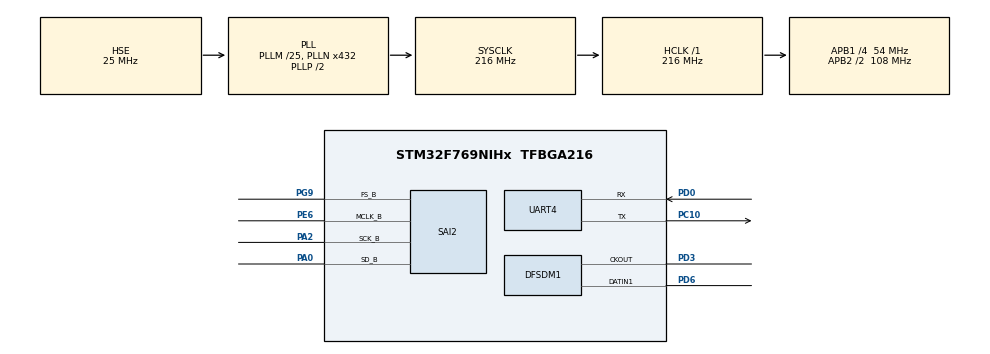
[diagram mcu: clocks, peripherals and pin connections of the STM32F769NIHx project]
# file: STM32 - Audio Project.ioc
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ADC1.Channel-3\#ChannelRegularConversion=ADC_CHANNEL_TEMPSENSOR
ADC1.NbrOfConversionFlag=1
ADC1.Rank-3\#ChannelRegularConversion=1
ADC1.SamplingTime-3\#ChannelRegularConversion=ADC_SAMPLETIME_3CYCLES
ADC1.master=1
DFSDM1.Divider=4
DFSDM1.DmaMode_reg_FIL0=ENABLE
DFSDM1.DmaMode_reg_FIL1=ENABLE
DFSDM1.FastMode_reg_FIL0=ENABLE
DFSDM1.FastMode_reg_FIL1=ENABLE
DFSDM1.Filter_injChannel0_FIL1=DFSDM_CHANNEL_0
DFSDM1.Filter_injChannel1_FIL0=DFSDM_CHANNEL_1
DFSDM1.Filter_regChannel_FIL0=DFSDM_CHANNEL_1
DFSDM1.Filter_regChannel_FIL1=DFSDM_CHANNEL_1
DFSDM1.Fosr_FIL0=64
DFSDM1.Fosr_FIL1=64
DFSDM1.Oversampling_CH0=1
DFSDM1.Oversampling_CH1=10
DFSDM1.RightBitShift_CH0=0x00
DFSDM1.RightBitShift_CH1=0x02
DFSDM1.ScanMode_inj_FIL1=ENABLE
DFSDM1.Selection=DFSDM_CHANNEL_OUTPUT_CLOCK_AUDIO
DFSDM1.SincOrder_FIL0=DFSDM_FILTER_SINC3_ORDER
DFSDM1.SincOrder_FIL1=DFSDM_FILTER_SINC3_ORDER
DFSDM1.Trigger_reg_FIL1=DFSDM_FILTER_SYNC_TRIGGER
Dma.DFSDM1_FLT0.0.Direction=DMA_PERIPH_TO_MEMORY
Dma.DFSDM1_FLT0.0.FIFOMode=DMA_FIFOMODE_DISABLE
Dma.DFSDM1_FLT0.0.Instance=DMA2_Stream0
Dma.DFSDM1_FLT0.0.MemDataAlignment=DMA_MDATAALIGN_WORD
Dma.DFSDM1_FLT0.0.MemInc=DMA_MINC_ENABLE
Dma.DFSDM1_FLT0.0.Mode=DMA_CIRCULAR
Dma.DFSDM1_FLT0.0.PeriphDataAlignment=DMA_PDATAALIGN_WORD
Dma.DFSDM1_FLT0.0.PeriphInc=DMA_PINC_DISABLE
Dma.DFSDM1_FLT0.0.Priority=DMA_PRIORITY_HIGH
Dma.DFSDM1_FLT1.1.Direction=DMA_PERIPH_TO_MEMORY
Dma.DFSDM1_FLT1.1.FIFOMode=DMA_FIFOMODE_DISABLE
Dma.DFSDM1_FLT1.1.Instance=DMA2_Stream5
Dma.DFSDM1_FLT1.1.MemDataAlignment=DMA_MDATAALIGN_WORD
Dma.DFSDM1_FLT1.1.MemInc=DMA_MINC_ENABLE
Dma.DFSDM1_FLT1.1.Mode=DMA_CIRCULAR
Dma.DFSDM1_FLT1.1.PeriphDataAlignment=DMA_PDATAALIGN_WORD
Dma.DFSDM1_FLT1.1.PeriphInc=DMA_PINC_DISABLE
Dma.DFSDM1_FLT1.1.Priority=DMA_PRIORITY_HIGH
Dma.Request0=DFSDM1_FLT0
Dma.Request1=DFSDM1_FLT1
Dma.Request2=SAI2_B
Dma.SAI2_B.2.Direction=DMA_MEMORY_TO_PERIPH
Dma.SAI2_B.2.FIFOMode=DMA_FIFOMODE_DISABLE
Dma.SAI2_B.2.Instance=DMA2_Stream6
Dma.SAI2_B.2.MemDataAlignment=DMA_MDATAALIGN_HALFWORD
Dma.SAI2_B.2.MemInc=DMA_MINC_ENABLE
Dma.SAI2_B.2.Mode=DMA_CIRCULAR
Dma.SAI2_B.2.PeriphDataAlignment=DMA_PDATAALIGN_HALFWORD
Dma.SAI2_B.2.PeriphInc=DMA_PINC_DISABLE
Dma.SAI2_B.2.Priority=DMA_PRIORITY_HIGH
Mcu.Family=STM32F7
Mcu.Name=STM32F769NIHx
Mcu.Package=TFBGA216
NVIC.DMA2_Stream0_IRQn=true\:0\:0\:false\:false\:true\:false\:true\:true
NVIC.DMA2_Stream5_IRQn=true\:0\:0\:false\:false\:true\:false\:true\:true
NVIC.DMA2_Stream6_IRQn=true\:0\:0\:false\:false\:true\:false\:true\:true
NVIC.PriorityGroup=NVIC_PRIORITYGROUP_4
PA0/WKUP.GPIO_Speed=GPIO_SPEED_FREQ_VERY_HIGH
PA0/WKUP.Mode=SAI_B_MasterWithClock
PA0/WKUP.Signal=SAI2_SD_B
PA2.GPIO_Speed=GPIO_SPEED_FREQ_VERY_HIGH
PA2.Mode=SAI_B_MasterWithClock
PA2.Signal=SAI2_SCK_B
PC10.Mode=Asynchronous
PC10.Signal=UART4_TX
PD0.Mode=Asynchronous
PD0.Signal=UART4_RX
PD3.GPIO_PuPd=GPIO_PULLDOWN
PD3.GPIO_Speed=GPIO_SPEED_FREQ_VERY_HIGH
PD3.Signal=S_CKOUTDFSDM1
PD6.GPIO_PuPd=GPIO_PULLDOWN
PD6.GPIO_Speed=GPIO_SPEED_FREQ_VERY_HIGH
PD6.Signal=S_DATAIN1DFSDM1
PE6.GPIO_Speed=GPIO_SPEED_FREQ_VERY_HIGH
PE6.Mode=SAI_B_MasterWithClock
PE6.Signal=SAI2_MCLK_B
PG9.GPIO_Speed=GPIO_SPEED_FREQ_VERY_HIGH
PG9.Mode=SAI_B_MasterWithClock
PG9.Signal=SAI2_FS_B
PH0/OSC_IN.Mode=HSE-External-Oscillator
PH0/OSC_IN.Signal=RCC_OSC_IN
PH1/OSC_OUT.Mode=HSE-External-Oscillator
PH1/OSC_OUT.Signal=RCC_OSC_OUT
ProjectManager.HeapSize=0x200
ProjectManager.StackSize=0x400
ProjectManager.TargetToolchain=STM32CubeIDE
RCC.AHBFreq_Value=216000000
RCC.APB1CLKDivider=RCC_HCLK_DIV4
RCC.APB1Freq_Value=54000000
RCC.APB1TimFreq_Value=108000000
RCC.APB2CLKDivider=RCC_HCLK_DIV2
RCC.APB2Freq_Value=108000000
RCC.APB2TimFreq_Value=216000000
RCC.CortexFreq_Value=216000000
RCC.DFSDMAudioSelection=RCC_DFSDM1AUDIOCLKSOURCE_SAI2
RCC.HCLKFreq_Value=216000000
RCC.HSE_VALUE=25000000
RCC.HSI_VALUE=16000000
RCC.LSE_VALUE=32768
RCC.PLLM=25
RCC.PLLN=432
RCC.PLLSAIN=429
RCC.PLLSAIQ=6
RCC.PLLSAIQDiv=6
RCC.PLLSourceVirtual=RCC_PLLSOURCE_HSE
RCC.SAI1CLockSelection=RCC_SAI1CLKSOURCE_PLLSRC
RCC.SYSCLKFreq_VALUE=216000000
RCC.SYSCLKSource=RCC_SYSCLKSOURCE_PLLCLK
RCC.USBFreq_Value=216000000
RCC.VCOOutputFreq_Value=432000000
SAI2.ActiveFrameLength-SAI_B_MasterWithClock=16
SAI2.DataSize-SAI_B_MasterWithClock=SAI_DATASIZE_16
SAI2.ErrorAudioFreq-SAI_B_MasterWithClock=-75.75 %
SAI2.FIFOThreshold-SAI_B_MasterWithClock=SAI_FIFOTHRESHOLD_1QF
SAI2.FSDefinition-SAI_B_MasterWithClock=SAI_FS_CHANNEL_IDENTIFICATION
SAI2.FSOffset-SAI_B_MasterWithClock=SAI_FS_BEFOREFIRSTBIT
SAI2.FrameLength-SAI_B_MasterWithClock=32
SAI2.Instance-SAI_B_MasterWithClock=SAI$Index_Block_B
SAI2.MClockEnable-SAI_B_MasterWithClock=SAI_MASTERCLOCK_ENABLE
SAI2.OutputDrive-SAI_B_MasterWithClock=SAI_OUTPUTDRIVE_ENABLE
SAI2.RealAudioFreq-SAI_B_MasterWithClock=46.549 KHz
SAI2.SlotActive-SAI_B_MasterWithClock=0x00000003
SAI2.SlotNumber-SAI_B_MasterWithClock=2
SAI2.SlotSize-SAI_B_MasterWithClock=SAI_SLOTSIZE_DATASIZE
SAI2.VirtualMode-SAI_B_MasterWithClock=VM_MASTER
SAI2.VirtualSlotActive-SAI_B_MasterWithClock=SAI_SLOT_USERSETTING
SAI2.VirtualSlotActive0-SAI_B_MasterWithClock=true
SAI2.VirtualSlotActive1-SAI_B_MasterWithClock=true
SH.S_CKOUTDFSDM1.0=DFSDM1_CKOUT,PDM_SPI_input_from_ch1_and_internal_clock
SH.S_CKOUTDFSDM1.1=DFSDM1_CKOUT,PDM_SPI_Input_from_ch01_and_Internal_Clock
SH.S_DATAIN1DFSDM1.0=DFSDM1_DATIN1,PDM_SPI_input_from_ch1_and_internal_clock
SH.S_DATAIN1DFSDM1.1=DFSDM1_DATIN1,PDM_SPI_Input_from_ch01_and_Internal_Clock
VP_ADC1_TempSens_Input.Mode=IN-TempSens
board=custom

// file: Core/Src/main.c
/* USER CODE BEGIN Header */
/**
  ******************************************************************************
  * @file           : main.c
  * @brief          : Main program body
  ******************************************************************************
  * @attention
  *
  * Copyright (c) 2022 STMicroelectronics.
  * All rights reserved.
  *
  * This software is licensed under terms that can be found in the LICENSE file
  * in the root directory of this software component.
  * If no LICENSE file comes with this software, it is provided AS-IS.
  *
  ******************************************************************************
  */
/* USER CODE END Header */
#include "main.h"
#include "adc.h"
#include "dfsdm.h"
#include "dma.h"
#include "sai.h"
#include "usart.h"
#include "gpio.h"

/* USER CODE BEGIN PV */

extern SAI_HandleTypeDef hsai_BlockB2;
extern DMA_HandleTypeDef hdma_sai2_b;

extern DFSDM_Filter_HandleTypeDef hdfsdm1_filter0;
extern DFSDM_Filter_HandleTypeDef hdfsdm1_filter1;
extern DFSDM_Channel_HandleTypeDef hdfsdm1_channel0;
extern DFSDM_Channel_HandleTypeDef hdfsdm1_channel1;
extern DMA_HandleTypeDef hdma_dfsdm1_flt0;
extern DMA_HandleTypeDef hdma_dfsdm1_flt1;
#define SaturaLH(N, L, H) (((N)<(L))?(L):(((N)>(H))?(H):(N)))
int32_t                      LeftRecBuff[2048];
int32_t                      RightRecBuff[2048];
int16_t                      PlayBuff[4096];
uint32_t                     DmaLeftRecHalfBuffCplt  = 0;
uint32_t                     DmaLeftRecBuffCplt      = 0;
uint32_t                     DmaRightRecHalfBuffCplt = 0;
uint32_t                     DmaRightRecBuffCplt     = 0;
uint32_t                     PlaybackStarted         = 0;

void HAL_DFSDM_FilterRegConvHalfCpltCallback(DFSDM_Filter_HandleTypeDef *hdfsdm_filter)
{
  if(hdfsdm_filter == &hdfsdm1_filter0)
  {
    DmaLeftRecHalfBuffCplt = 1;
  }
  else
  {
    DmaRightRecHalfBuffCplt = 1;
  }
}

void HAL_DFSDM_FilterRegConvCpltCallback(DFSDM_Filter_HandleTypeDef *hdfsdm_filter)
{
  if(hdfsdm_filter == &hdfsdm1_filter0)
  {
    DmaLeftRecBuffCplt = 1;
  }
  else
  {
    DmaRightRecBuffCplt = 1;
  }
}

/* USER CODE END PV */

void SystemClock_Config(void);
void PeriphCommonClock_Config(void);

int main(void)
{

  /* MCU Configuration--------------------------------------------------------*/

  /* Reset of all peripherals, Initializes the Flash interface and the Systick. */
  HAL_Init();

  /* Configure the system clock */
  SystemClock_Config();

/* Configure the peripherals common clocks */
  PeriphCommonClock_Config();

  /* Initialize all configured peripherals */
  MX_GPIO_Init();
  MX_DMA_Init();
  MX_DFSDM1_Init();
  MX_SAI2_Init();
  MX_ADC1_Init();
  MX_UART4_Init();
  /* USER CODE BEGIN 2 */
  /* Start DFSDM conversions */
  if(HAL_OK != HAL_DFSDM_FilterRegularStart_DMA(&hdfsdm1_filter1, RightRecBuff, 2048))
  {
    Error_Handler();
  }
  if(HAL_OK != HAL_DFSDM_FilterRegularStart_DMA(&hdfsdm1_filter0, LeftRecBuff, 2048))
  {
    Error_Handler();
  }

  /* USER CODE END 2 */

  /* Infinite loop */
  while (1)
  {

    /* USER CODE BEGIN 3 */
	  if((DmaLeftRecHalfBuffCplt == 1) && (DmaRightRecHalfBuffCplt == 1))
	      {
	        /* Store values on Play buff */
	        for(int i = 0; i < 1024; i++)
	        {
	          PlayBuff[2*i]     = SaturaLH((LeftRecBuff[i] >> 8), -32768, 32767);
	          PlayBuff[(2*i)+1] = SaturaLH((RightRecBuff[i] >> 8), -32768, 32767);
	        }
	        /*if(PlaybackStarted == 0)
	        {
	          if(0 != audio_drv->Play(AUDIO_I2C_ADDRESS, (uint16_t *) &PlayBuff[0], 4096))
	          {
	            Error_Handler();
	          }
	          if(HAL_OK != HAL_SAI_Transmit_DMA(&SaiHandle, (uint8_t *) &PlayBuff[0], 4096))
	          {
	            Error_Handler();
	          }
	          PlaybackStarted = 1;
	        }*/
	        DmaLeftRecHalfBuffCplt  = 0;
	        DmaRightRecHalfBuffCplt = 0;
	      }
	      if((DmaLeftRecBuffCplt == 1) && (DmaRightRecBuffCplt == 1))
	      {
	        /* Store values on Play buff */
	        for(int i = 1024; i < 2048; i++)
	        {
	          PlayBuff[2*i]     = SaturaLH((LeftRecBuff[i] >> 8), -32768, 32767);
	          PlayBuff[(2*i)+1] = SaturaLH((RightRecBuff[i] >> 8), -32768, 32767);
	        }
	        DmaLeftRecBuffCplt  = 0;
	        DmaRightRecBuffCplt = 0;
	      }
  }
  /* USER CODE END 3 */
}

void SystemClock_Config(void)
{
  RCC_OscInitTypeDef RCC_OscInitStruct = {0};
  RCC_ClkInitTypeDef RCC_ClkInitStruct = {0};

  /** Configure the main internal regulator output voltage
  */
  __HAL_RCC_PWR_CLK_ENABLE();
  __HAL_PWR_VOLTAGESCALING_CONFIG(PWR_REGULATOR_VOLTAGE_SCALE1);

  /** Initializes the RCC Oscillators according to the specified parameters
  * in the RCC_OscInitTypeDef structure.
  */
  RCC_OscInitStruct.OscillatorType = RCC_OSCILLATORTYPE_HSE;
  RCC_OscInitStruct.HSEState = RCC_HSE_ON;
  RCC_OscInitStruct.PLL.PLLState = RCC_PLL_ON;
  RCC_OscInitStruct.PLL.PLLSource = RCC_PLLSOURCE_HSE;
  RCC_OscInitStruct.PLL.PLLM = 25;
  RCC_OscInitStruct.PLL.PLLN = 432;
  RCC_OscInitStruct.PLL.PLLP = RCC_PLLP_DIV2;
  RCC_OscInitStruct.PLL.PLLQ = 2;
  RCC_OscInitStruct.PLL.PLLR = 2;
  if (HAL_RCC_OscConfig(&RCC_OscInitStruct) != HAL_OK)
  {
    Error_Handler();
  }

  /** Activate the Over-Drive mode
  */
  if (HAL_PWREx_EnableOverDrive() != HAL_OK)
  {
    Error_Handler();
  }

  /** Initializes the CPU, AHB and APB buses clocks
  */
  RCC_ClkInitStruct.ClockType = RCC_CLOCKTYPE_HCLK|RCC_CLOCKTYPE_SYSCLK
                              |RCC_CLOCKTYPE_PCLK1|RCC_CLOCKTYPE_PCLK2;
  RCC_ClkInitStruct.SYSCLKSource = RCC_SYSCLKSOURCE_PLLCLK;
  RCC_ClkInitStruct.AHBCLKDivider = RCC_SYSCLK_DIV1;
  RCC_ClkInitStruct.APB1CLKDivider = RCC_HCLK_DIV4;
  RCC_ClkInitStruct.APB2CLKDivider = RCC_HCLK_DIV2;

  if (HAL_RCC_ClockConfig(&RCC_ClkInitStruct, FLASH_LATENCY_7) != HAL_OK)
  {
    Error_Handler();
  }
}

void PeriphCommonClock_Config(void)
{
  RCC_PeriphCLKInitTypeDef PeriphClkInitStruct = {0};

  /** Initializes the peripherals clock
  */
  PeriphClkInitStruct.PeriphClockSelection = RCC_PERIPHCLK_DFSDM1|RCC_PERIPHCLK_DFSDM1_AUDIO
                              |RCC_PERIPHCLK_SAI2;
  PeriphClkInitStruct.PLLSAI.PLLSAIN = 429;
  PeriphClkInitStruct.PLLSAI.PLLSAIR = 2;
  PeriphClkInitStruct.PLLSAI.PLLSAIQ = 6;
  PeriphClkInitStruct.PLLSAI.PLLSAIP = RCC_PLLSAIP_DIV2;
  PeriphClkInitStruct.PLLSAIDivQ = 6;
  PeriphClkInitStruct.PLLSAIDivR = RCC_PLLSAIDIVR_2;
  PeriphClkInitStruct.Sai2ClockSelection = RCC_SAI2CLKSOURCE_PLLSAI;
  PeriphClkInitStruct.Dfsdm1AudioClockSelection = RCC_DFSDM1AUDIOCLKSOURCE_SAI2;
  PeriphClkInitStruct.Dfsdm1ClockSelection = RCC_DFSDM1CLKSOURCE_PCLK;
  if (HAL_RCCEx_PeriphCLKConfig(&PeriphClkInitStruct) != HAL_OK)
  {
    Error_Handler();
  }
}

void Error_Handler(void)
{
  __disable_irq();
  while (1)
  {
  }
}
